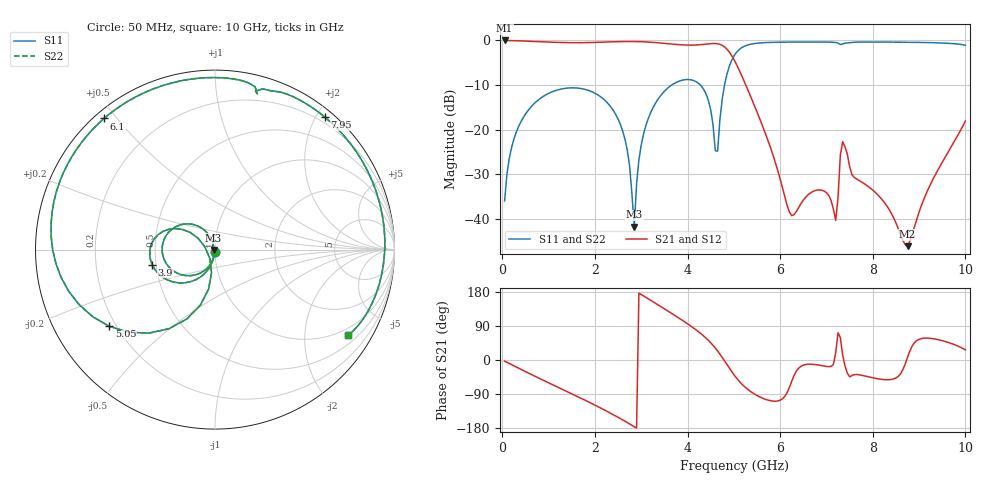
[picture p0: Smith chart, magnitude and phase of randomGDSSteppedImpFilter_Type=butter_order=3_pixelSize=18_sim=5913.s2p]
! freq	dB(S11)	phase(S11)	dB(S12)	phase(S12)
!  dB(S21)	phase(S21)	dB(S22)	phase(S22)
!S-par simulation data
#  GHz  S  DB  R 50
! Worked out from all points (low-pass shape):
!   200 points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, 50 MHz to 10 GHz, reference 50 ohm
!   highest |S21| = 0.00 dB at 50 MHz (marker M1); lowest = -46.1 dB at 8.75 GHz (marker M2)
!   |S21| within 3 dB of the highest: start of sweep to 4.928 GHz
!   lowest |S11| = -41.8 dB at 2.85 GHz (marker M3), VSWR 1.02, Z = 49.2 - j0.245 ohm
!   |S11| at or under -10 dB: start of sweep to 3.658 GHz; 4.277 GHz to 4.799 GHz (522 MHz wide, 11.5 % of centre)
!   |S22| runs from -42.0 to -0.4 dB; largest |S21 - S12| = 0
!   S11 on the Smith chart (normalised r, x): 50 MHz: 1.00, -0.03; 3.9 GHz: 0.48, -0.09; 5.05 GHz: 0.17, -0.32; 6.1 GHz: 0.03, +0.46; 7.95 GHz: 0.12, +2.13; 10 GHz: 0.75, -3.25
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0.05  -35.96 -92.9  -0.00 -3.1  -0.00 -3.1  -35.96 -92.9
0.5  -16.51 -121.0  -0.14 -30.6  -0.14 -30.6  -16.51 -121.0
1.75  -10.88 165.8  -0.50 -103.9  -0.50 -103.9  -10.88 165.8
2.55  -18.83 117.1  -0.26 -154.7  -0.26 -154.7  -18.83 116.9
2.75  -28.20 109.0  -0.23 -168.8  -0.23 -168.8  -28.21 108.5
2.85  -41.76 -162.3  -0.24 -176.0  -0.24 -176.0  -42.03 -162.1
3  -23.41 -102.8  -0.28 173.0  -0.28 173.0  -23.41 -102.5
3.4  -12.62 -129.1  -0.56 142.7  -0.56 142.7  -12.62 -129.0
3.9  -8.87 -166.5  -1.01 103.8  -1.01 103.8  -8.87 -166.5
4.4  -12.00 152.2  -0.83 57.7  -0.83 57.7  -12.00 152.2
4.65  -24.81 -119.9  -0.75 23.7  -0.75 23.7  -24.81 -119.9
4.8  -9.92 -104.7  -1.45 -2.5  -1.45 -2.5  -9.92 -104.7
5.05  -2.76 -144.0  -5.23 -46.4  -5.23 -46.4  -2.76 -144.0
5.4  -0.77 175.6  -13.49 -86.3  -13.49 -86.3  -0.77 175.5
6.1  -0.38 130.2  -34.98 -96.1  -34.98 -96.1  -0.38 130.2
6.7  -0.36 101.6  -33.88 -11.3  -33.88 -11.3  -0.36 101.5
7.2  -0.46 78.8  -40.30 19.6  -40.30 19.6  -0.46 78.8
7.35  -0.81 75.7  -22.67 12.5  -22.67 12.5  -0.81 75.6
7.95  -0.36 50.3  -33.11 -45.7  -33.11 -45.7  -0.36 50.2
8.35  -0.38 34.2  -37.82 -52.0  -37.82 -52.0  -0.38 34.1
8.75  -0.41 18.4  -46.09 7.0  -46.09 7.0  -0.41 18.3
10  -1.07 -32.7  -18.06 26.9  -18.06 26.9  -1.07 -32.7
